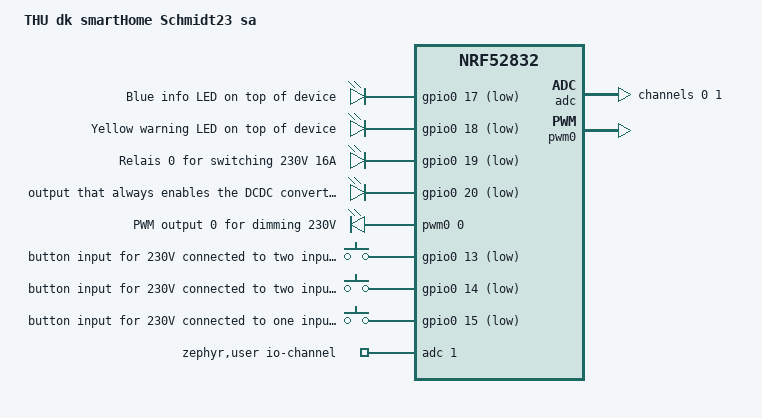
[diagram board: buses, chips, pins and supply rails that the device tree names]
// Copyright (c) 2023 Nordic Semiconductor ASA
// SPDX-License-Identifier: Apache-2.0

/dts-v1/;
#include <nordic/nrf52832_qfaa.dtsi>
#include "thu_dk_smart_home_sa_schmidt23-pinctrl.dtsi"

/ {
	model = "THU dk smartHome Schmidt23 sa";
	compatible = "thu,thu-dk-smart-home-sa-schmidt23";

	chosen {
		zephyr,sram = &sram0;
		zephyr,flash = &flash0;
		zephyr,code-partition = &slot0_partition;
	};


	//TODO: maybe rename to outputs later
	leds {
		compatible = "gpio-leds";
		infoled0: info_led0 {
			//TODO: select right gpio
			gpios = <&gpio0 17 GPIO_ACTIVE_LOW>;
			label = "Blue info LED on top of device";
		};
		warnled1: warn_led1 {
			//TODO: select right gpio
			gpios = <&gpio0 18 GPIO_ACTIVE_LOW>;
			label = "Yellow warning LED on top of device";
		};
		relaisout0: relais_output0 {
			//TODO: select right gpio
			gpios = <&gpio0 19 GPIO_ACTIVE_LOW>;
			label = "Relais 0 for switching 230V 16A";
		};
		dcdcen: dcdc_enable {
			//TODO: select right gpio
			gpios = <&gpio0 20 GPIO_ACTIVE_LOW>;
			label = "output that always enables the DCDC converter for the power supply";
		};
	};


	pwmoutputs {
		compatible = "pwm-leds";
		pwm_output0: pwm_output_0 {
			//TODO: select right pin
			pwms = <&pwm0 0 PWM_MSEC(20) PWM_POLARITY_INVERTED>;
			label = "PWM output 0 for dimming 230V";
		};
	};


	buttons {
		compatible = "gpio-keys";
		button230v0a: button_230v_0_a {
			//TODO: select right pin
			gpios = <&gpio0 13 (GPIO_PULL_UP | GPIO_ACTIVE_LOW)>;
			label = "button input for 230V connected to two inputs (0a)";
		};
		button230v0b: button_230v_0_b {
			//TODO: select right pin
			gpios = <&gpio0 14 (GPIO_PULL_UP | GPIO_ACTIVE_LOW)>;
			label = "button input for 230V connected to two inputs (ob)";
		};
		button230v1: button_230v_1 {
			//TODO: select right pin
			gpios = <&gpio0 15 (GPIO_PULL_UP | GPIO_ACTIVE_LOW)>;
			label = "button input for 230V connected to one input (1)";
		};
	};


	aliases {
		led0 = &infoled0;
		led1 = &warnled1;
		relaisout0 = &relaisout0;
		dcdcen = &dcdcen;
		pwm-output0 = &pwm_output0;
		button230v0a = &button230v0a;
		button230v0b = &button230v0b;
		button230v1 = &button230v1;
		// bootloader-led0 = &infoled0;
		// mcuboot-button0 = &button230v0a;
		// mcuboot-led0 = &infoled0;
		// watchdog0 = &wdt0;

		// === added for smartHome === //
		//outputs
		infogreenled = &infoled0;
		relaisoutput = &relaisout0;
		dimmeroutput = &pwm_output0;
		//inputs
		relaistogglebutton = &button230v1;
		dimmonoffbuttonrisingedge = &button230v0a;
		dimmonoffbuttonfallingedge = &button230v0b;
		// end of Hausautomatisierung
	};
};

&adc {
	status = "okay";
};

&gpiote {
	status = "okay";
};




//for the leds branch:
&gpio0 {
	status = "okay";
};

//for the pwm outputs branch:
&pwm0 {
	status = "okay";
	pinctrl-0 = <&pwm0_default>;
	pinctrl-1 = <&pwm0_sleep>;
	pinctrl-names = "default", "sleep";
};

&flash0 {
	partitions {
		compatible = "fixed-partitions";
		#address-cells = <1>;
		#size-cells = <1>;

		boot_partition: partition@0 {
			label = "mcuboot";
			reg = <0x0 0xc000>;
		};
		slot0_partition: partition@c000 {
			label = "image-0";
			reg = <0xc000 0x32000>;
		};
		slot1_partition: partition@3e000 {
			label = "image-1";
			reg = <0x3e000 0x32000>;
		};
		scratch_partition: partition@70000 {
			label = "image-scratch";
			reg = <0x70000 0xa000>;
		};
		storage_partition: partition@7a000 {
			label = "storage";
			reg = <0x7a000 0x6000>;
		};
	};
};




//copied from overlay file:
/ {
	zephyr,user {
	   io-channels = <&adc 1>;
	};
};

&adc {
	status = "okay";
	#address-cells = <1>;	//numer of cells required to represent a physical address
	#size-cells = <0>;		//number of cells required to represent the size of nodes that are children of this node

	channel@0 {
		reg = <0>;
		zephyr,gain = "ADC_GAIN_1_6";
		zephyr,reference = "ADC_REF_INTERNAL";
		zephyr,acquisition-time = <ADC_ACQ_TIME_DEFAULT>;
		zephyr,input-positive = <NRF_SAADC_AIN0>; /* P0.02 */
		zephyr,resolution = <12>;
		//zephyr,oversampling = < 4 >;
	};
	channel@1 {
		reg = <1>;		//describes the address of the device’s resources within the address space defined by its parent bus. Mostly is an offset
		zephyr,gain = "ADC_GAIN_1_6";
		zephyr,reference = "ADC_REF_INTERNAL";
		zephyr,acquisition-time = <ADC_ACQ_TIME_DEFAULT>;
		zephyr,input-positive = <NRF_SAADC_AIN1>; /* P0.03 */
		zephyr,resolution = <12>;
	};
};
